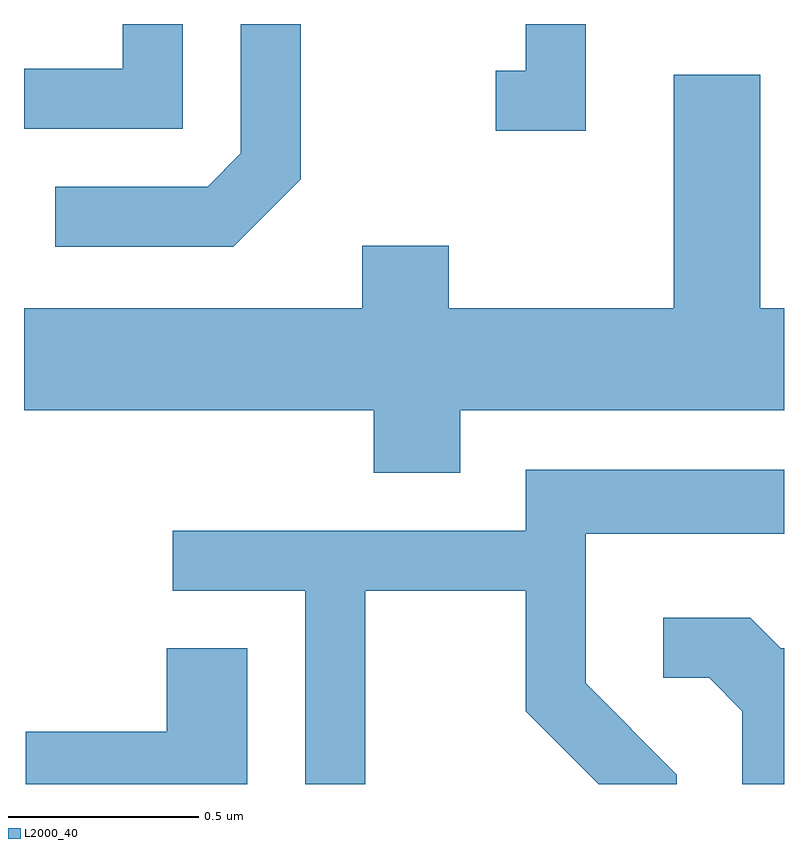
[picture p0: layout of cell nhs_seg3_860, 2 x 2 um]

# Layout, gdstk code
import gdstk
lib = gdstk.Library(unit=1e-6, precision=1e-09)
def P(c, l, *ps):  # polygons
    for p in ps: c.add(gdstk.Polygon(p, *l))
L2000_40 = (2000, 40)

nhs_seg3_860 = lib.new_cell('nhs_seg3_860')
P(nhs_seg3_860, L2000_40, [(193.089,1155.892),(192.931,1155.892),(192.931,1155.769),(192.853,1155.769),(192.853,1155.611),(193.089,1155.611)],
  [(192.029,1155.892),(191.871,1155.892),(191.871,1155.774),(191.611,1155.774),(191.611,1155.616),(192.029,1155.616)],
  [(192.339,1155.484),(192.339,1155.892),(192.181,1155.892),(192.181,1155.552),(192.094,1155.464),(191.693,1155.464),(191.693,1155.306),(192.162,1155.306)],
  [(192.759,1154.876),(193.611,1154.876),(193.611,1155.144),(193.549,1155.144),(193.549,1155.759),(193.321,1155.759),(193.321,1155.144),(192.729,1155.144),(192.729,1155.309),(192.501,1155.309),(192.501,1155.144),(191.611,1155.144),(191.611,1154.876),(192.531,1154.876),(192.531,1154.711),(192.759,1154.711)],
  [(192.509,1154.401),(192.931,1154.401),(192.931,1154.084),(193.123,1153.892),(193.329,1153.892),(193.329,1153.917),(193.089,1154.157),(193.089,1154.551),(193.611,1154.551),(193.611,1154.719),(192.931,1154.719),(192.931,1154.559),(192.003,1154.559),(192.003,1154.401),(192.351,1154.401),(192.351,1153.892),(192.509,1153.892)],
  [(193.611,1154.249),(193.602,1154.249),(193.522,1154.329),(193.293,1154.329),(193.293,1154.171),(193.414,1154.171),(193.501,1154.084),(193.501,1153.892),(193.611,1153.892)],
  [(192.199,1154.249),(191.986,1154.249),(191.986,1154.029),(191.616,1154.029),(191.616,1153.892),(192.199,1153.892)])

lib.write_gds('nhs_seg3_860.gds')
